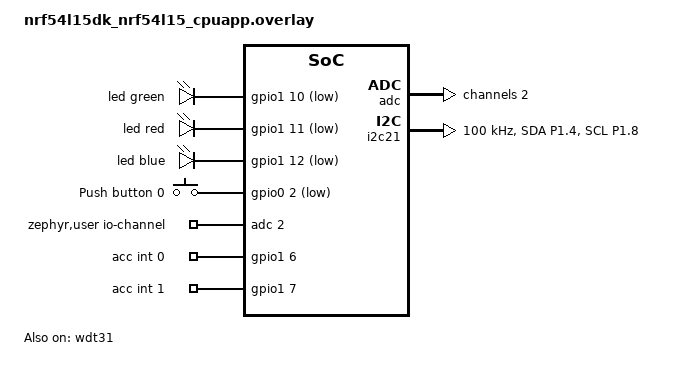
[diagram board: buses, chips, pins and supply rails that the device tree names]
/* SPDX-License-Identifier: LicenseRef-Nordic-5-Clause */

/ {    
    leds {
        compatible = "gpio-leds";
        
        led0: led_0 {
			gpios = <&gpio1 10 GPIO_ACTIVE_LOW>;
			label = "led green";
		};
        
        led1: led_1 {
			gpios = <&gpio1 11 GPIO_ACTIVE_LOW>;
			label = "led red";
		};
        
        led2: led_2 {
			gpios = <&gpio1 12 GPIO_ACTIVE_LOW>;
			label = "led blue";
		};
        
	};
    
    buttons {
		compatible = "gpio-keys";
		button0: button_0 {
			gpios = <&gpio0 2 (GPIO_PULL_UP | GPIO_ACTIVE_LOW)>;
			label = "Push button 0";
		};
        

	};
    
    zephyr,user {
		io-channels = <&adc 2>;
	};
    
     accints {
		compatible = "gpio-keys";
		accint0: accint_0 {
			gpios = <&gpio1 6 (GPIO_PULL_DOWN | GPIO_ACTIVE_HIGH)>;
			label = "acc int 0";
		};
        
        accint1: accint_1 {
			gpios = <&gpio1 7 (GPIO_PULL_DOWN | GPIO_ACTIVE_HIGH)>;
			label = "acc int 1";
		};
	};
        
 
    aliases {
        led0 = &led0;
        led1 = &led1;
        led2 = &led2;
        sw0 = &button0;
		accint0 = &accint0;
		accint1 = &accint1;
		acci2c = &i2c21;
        
        /delete-property/ led3;
        /delete-property/ sw1;
        /delete-property/ sw2;
        /delete-property/ sw3;
	};
};

/delete-node/ &led3;
/delete-node/ &button1;
/delete-node/ &button2;
/delete-node/ &button3;

&gpio0 {
    sense-edge-mask = <(1 << 4)>;
};

&gpio1 {
    sense-edge-mask = <((1 << 6) | (1 << 7))>;
};

&lfxo{
    load-capacitors = "internal";
    load-capacitance-femtofarad=<14000>;
};



&adc {
	#address-cells = <1>;
	#size-cells = <0>;

	channel@2 {
		reg = <2>;
		zephyr,gain = "ADC_GAIN_1_4";
		zephyr,reference = "ADC_REF_INTERNAL";
		zephyr,acquisition-time = <ADC_ACQ_TIME_DEFAULT>;
		zephyr,input-positive = <NRF_SAADC_VDD>; 
		zephyr,resolution = <12>;
		zephyr,oversampling = <8>;
	};
};


&i2c21 {
	compatible = "nordic,nrf-twim";
	status = "okay";
	clock-frequency = <I2C_BITRATE_STANDARD>;
	pinctrl-0 = <&i2c21_default_alt>;
	pinctrl-1 = <&i2c21_sleep_alt>;
	pinctrl-names = "default", "sleep";

};


&pinctrl {
	i2c21_default_alt: i2c21_default_alt {
		group1 {
			psels = <NRF_PSEL(TWIM_SDA, 1, 4)>,
				<NRF_PSEL(TWIM_SCL, 1, 8)>;
			bias-pull-up;
		};
	};

	i2c21_sleep_alt: i2c21_sleep_alt {
		group1 {
			psels = <NRF_PSEL(TWIM_SDA, 1, 4)>,
				<NRF_PSEL(TWIM_SCL, 1, 8)>;
			low-power-enable;
		};
	};
};

/* Disable NFCT on P1.02 and P1.03 only nrf54l15dk/nrf54l15/cpuapp*/
&uicr {
	nfct-pins-as-gpios;
};

&button0 {
	status = "okay";
};

&uart30
{
    status = "disabled";
};

&uart20
{
	// disable-rx;
	status = "disabled";
};

&wdt31 {
    status = "okay";
};

&uart21 {
    status = "disabled"; 
};

&spi21
{
	status = "disabled";
};

&spi00 {
    status = "disabled";
};

&pwm21
{
	status = "disabled";
};


